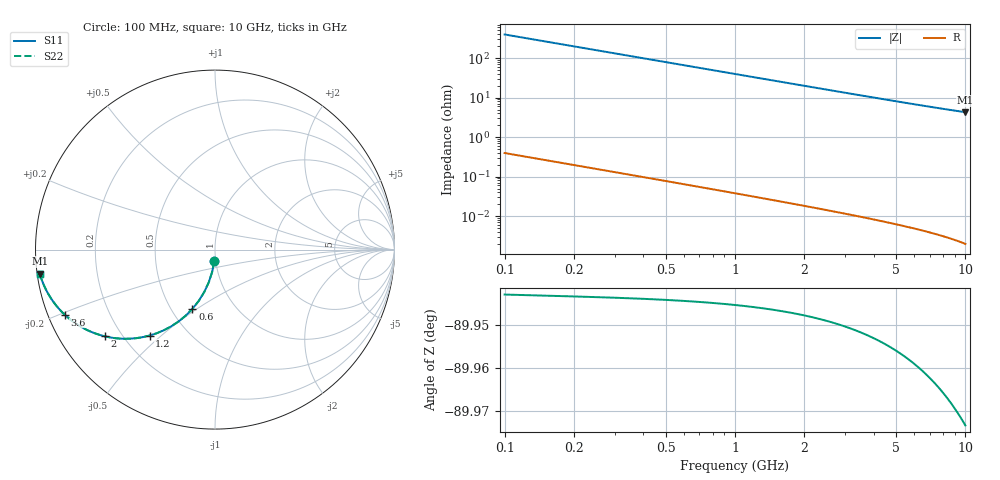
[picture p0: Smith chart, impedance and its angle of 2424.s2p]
# Hz S RI R 50.00
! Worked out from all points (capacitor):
!   100 points, 100 MHz to 10 GHz, reference 50 ohm
!   read as one part in shunt: C = 4.01 pF near 100 MHz
!   lowest |Z| = 4.28 ohm at 10 GHz (marker M1)
!   S11 on the Smith chart (normalised r, x): 100 MHz: 0.98, -0.12; 600 MHz: 0.64, -0.48; 1.2 GHz: 0.31, -0.46; 2 GHz: 0.14, -0.34; 3.6 GHz: 0.05, -0.21; 10 GHz: 0.01, -0.07
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1e8  -0.00394 -0.0626  0.9959 -0.063  0.9959 -0.063  -0.00394 -0.0626
2e8  -0.0157 -0.1238  0.9841 -0.1245  0.9841 -0.1245  -0.0157 -0.1238
3e8  -0.0346 -0.1821  0.9652 -0.1831  0.9652 -0.1831  -0.0346 -0.1821
4e8  -0.06 -0.2364  0.9399 -0.2377  0.9399 -0.2377  -0.06 -0.2364
5e8  -0.0906 -0.2859  0.9092 -0.2875  0.9092 -0.2875  -0.0906 -0.2859
6e8  -0.1254 -0.3298  0.8744 -0.3318  0.8744 -0.3318  -0.1254 -0.3298
7e8  -0.1633 -0.3681  0.8365 -0.3703  0.8365 -0.3703  -0.1633 -0.3681
9e8  -0.2438 -0.4275  0.756 -0.4304  0.756 -0.4304  -0.2438 -0.4275
1.2e9  -0.3643 -0.4788  0.6355 -0.4827  0.6355 -0.4827  -0.3643 -0.4788
1.5e9  -0.4724 -0.4963  0.5274 -0.5011  0.5274 -0.5011  -0.4724 -0.4963
1.8e9  -0.5632 -0.4926  0.4366 -0.4984  0.4366 -0.4984  -0.5632 -0.4926
2e9  -0.6142 -0.483  0.3856 -0.4895  0.3856 -0.4895  -0.6142 -0.483
2.3e9  -0.678 -0.463  0.3218 -0.4704  0.3218 -0.4704  -0.678 -0.463
2.6e9  -0.7291 -0.4396  0.2707 -0.448  0.2707 -0.448  -0.7291 -0.4396
3e9  -0.7819 -0.4075  0.2178 -0.4172  0.2178 -0.4172  -0.7819 -0.4075
3.4e9  -0.8217 -0.3766  0.178 -0.3876  0.178 -0.3876  -0.8217 -0.3766
3.6e9  -0.8379 -0.362  0.1618 -0.3737  0.1618 -0.3737  -0.8379 -0.362
4.3e9  -0.8808 -0.3163  0.1189 -0.3303  0.1189 -0.3303  -0.8808 -0.3163
5.1e9  -0.9125 -0.2735  0.0872 -0.2902  0.0872 -0.2902  -0.9125 -0.2735
6.7e9  -0.9477 -0.2106  0.0519 -0.2327  0.0519 -0.2327  -0.9477 -0.2106
8.4e9  -0.9664 -0.1648  0.033 -0.1929  0.033 -0.1929  -0.9664 -0.1648
1e10  -0.9762 -0.1334  0.0229 -0.1674  0.0229 -0.1674  -0.9762 -0.1334
